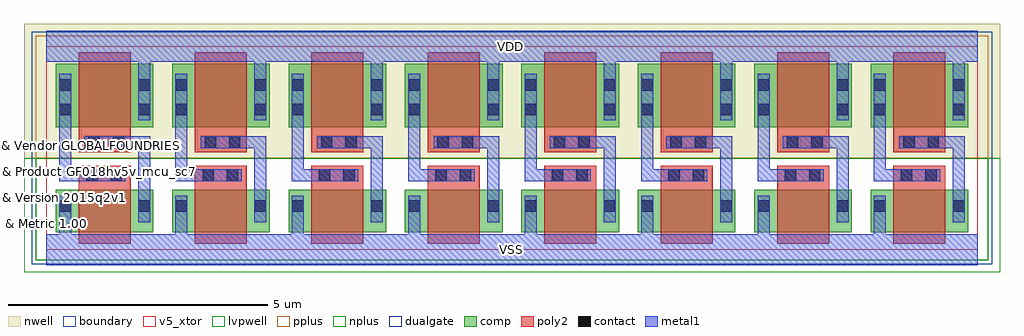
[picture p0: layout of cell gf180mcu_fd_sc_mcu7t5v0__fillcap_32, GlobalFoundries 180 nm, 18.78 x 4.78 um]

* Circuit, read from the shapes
.subckt gf180mcu_fd_sc_mcu7t5v0__fillcap_32 VDD VSS
XM1 n1 n2 VSS VSUBS nfet_05v0 w=0.82u l=1u
XM2 n3 n4 VSS VSUBS nfet_05v0 w=0.82u l=1u
XM3 n5 n6 VSS VSUBS nfet_05v0 w=0.82u l=1u
XM4 n7 n8 VSS VSUBS nfet_05v0 w=0.82u l=1u
XM5 n9 n10 VSS VSUBS nfet_05v0 w=0.82u l=1u
XM6 n11 n12 VSS VSUBS nfet_05v0 w=0.82u l=1u
XM7 n13 n14 VSS VSUBS nfet_05v0 w=0.82u l=1u
XM8 n15 n16 VSS VSUBS nfet_05v0 w=0.82u l=1u
XM9 VDD n1 n2 n17 pfet_05v0 w=1.22u l=1u
XM10 VDD n3 n4 n17 pfet_05v0 w=1.22u l=1u
XM11 VDD n5 n6 n17 pfet_05v0 w=1.22u l=1u
XM12 VDD n7 n8 n17 pfet_05v0 w=1.22u l=1u
XM13 VDD n9 n10 n17 pfet_05v0 w=1.22u l=1u
XM14 VDD n11 n12 n17 pfet_05v0 w=1.22u l=1u
XM15 VDD n13 n14 n17 pfet_05v0 w=1.22u l=1u
XM16 VDD n15 n16 n17 pfet_05v0 w=1.22u l=1u
.ends

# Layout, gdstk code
import gdstk
lib = gdstk.Library(unit=1e-6, precision=1e-09)
def R(c, l, rs):  # rectangles x0, y0, x1, y1
    for r in rs: c.add(gdstk.rectangle(r[:2], r[2:], *l))
def A(c, l, x, y, w, h, nx, ny, dx, dy):  # array of equal rectangles
    R(c, l, [(x+i*dx, y+j*dy, x+i*dx+w, y+j*dy+h) for i in range(nx) for j in range(ny)])
def P(c, l, *ps):  # polygons
    for p in ps: c.add(gdstk.Polygon(p, *l))
boundary = (0, 0)
nwell = (21, 0)
comp = (22, 0)
poly2 = (30, 0)
pplus = (31, 0)
nplus = (32, 0)
contact = (33, 0)
metal1 = (34, 0)
dualgate = (55, 0)
v5_xtor = (112, 1)
lvpwell = (204, 0)

gf180mcu_fd_sc_mcu7t5v0_ = lib.new_cell('gf180mcu_fd_sc_mcu7t5v0__fillcap_32')
R(gf180mcu_fd_sc_mcu7t5v0_, boundary, [(0,0,17.92,3.92)])
R(gf180mcu_fd_sc_mcu7t5v0_, nwell, [(-0.43,1.76,18.35,4.35)])
A(gf180mcu_fd_sc_mcu7t5v0_, comp, 0.18, 0.34, 1.88, 0.82, 8, 1, 2.24, 0)
A(gf180mcu_fd_sc_mcu7t5v0_, comp, 0.18, 2.36, 1.88, 1.22, 8, 1, 2.24, 0)
A(gf180mcu_fd_sc_mcu7t5v0_, poly2, 0.62, 0.12, 1, 1.5, 8, 1, 2.24, 0)
A(gf180mcu_fd_sc_mcu7t5v0_, poly2, 0.62, 1.875, 1, 1.925, 8, 1, 2.24, 0)
R(gf180mcu_fd_sc_mcu7t5v0_, pplus, [(-0.2,1.76,18.12,4.12)])
R(gf180mcu_fd_sc_mcu7t5v0_, nplus, [(-0.2,-0.2,18.12,1.76)])
R(gf180mcu_fd_sc_mcu7t5v0_, contact, [(0.25,0.735,0.47,0.955), (1.77,0.735,1.99,0.955), (2.49,0.735,2.71,0.955), (4.01,0.735,4.23,0.955), (4.73,0.735,4.95,0.955), (6.25,0.735,6.47,0.955), (6.97,0.735,7.19,0.955), (8.49,0.735,8.71,0.955), (9.21,0.735,9.43,0.955), (10.73,0.735,10.95,0.955), (11.45,0.735,11.67,0.955), (12.97,0.735,13.19,0.955), (13.69,0.735,13.91,0.955), (15.21,0.735,15.43,0.955), (15.93,0.735,16.15,0.955), (17.45,0.735,17.67,0.955), (0.765,1.33,0.985,1.55), (1.235,1.33,1.455,1.55), (3.005,1.33,3.225,1.55), (3.475,1.33,3.695,1.55), (5.245,1.33,5.465,1.55), (5.715,1.33,5.935,1.55), (7.485,1.33,7.705,1.55), (7.955,1.33,8.175,1.55), (9.725,1.33,9.945,1.55), (10.195,1.33,10.415,1.55), (11.965,1.33,12.185,1.55), (12.435,1.33,12.655,1.55), (14.205,1.33,14.425,1.55), (14.675,1.33,14.895,1.55), (16.445,1.33,16.665,1.55), (16.915,1.33,17.135,1.55), (0.805,1.965,1.025,2.185), (1.275,1.965,1.495,2.185), (3.045,1.965,3.265,2.185), (3.515,1.965,3.735,2.185), (5.285,1.965,5.505,2.185), (5.755,1.965,5.975,2.185), (7.525,1.965,7.745,2.185), (7.995,1.965,8.215,2.185), (9.765,1.965,9.985,2.185), (10.235,1.965,10.455,2.185), (12.005,1.965,12.225,2.185), (12.475,1.965,12.695,2.185), (14.245,1.965,14.465,2.185), (14.715,1.965,14.935,2.185), (16.485,1.965,16.705,2.185), (16.955,1.965,17.175,2.185), (0.25,2.59,0.47,2.81), (1.77,2.59,1.99,2.81), (2.49,2.59,2.71,2.81), (4.01,2.59,4.23,2.81), (4.73,2.59,4.95,2.81), (6.25,2.59,6.47,2.81), (6.97,2.59,7.19,2.81), (8.49,2.59,8.71,2.81), (9.21,2.59,9.43,2.81), (10.73,2.59,10.95,2.81), (11.45,2.59,11.67,2.81), (12.97,2.59,13.19,2.81), (13.69,2.59,13.91,2.81), (15.21,2.59,15.43,2.81), (15.93,2.59,16.15,2.81), (17.45,2.59,17.67,2.81), (0.25,3.06,0.47,3.28), (1.77,3.06,1.99,3.28), (2.49,3.06,2.71,3.28), (4.01,3.06,4.23,3.28), (4.73,3.06,4.95,3.28), (6.25,3.06,6.47,3.28), (6.97,3.06,7.19,3.28), (8.49,3.06,8.71,3.28), (9.21,3.06,9.43,3.28), (10.73,3.06,10.95,3.28), (11.45,3.06,11.67,3.28), (12.97,3.06,13.19,3.28), (13.69,3.06,13.91,3.28), (15.21,3.06,15.43,3.28), (15.93,3.06,16.15,3.28), (17.45,3.06,17.67,3.28)])
P(gf180mcu_fd_sc_mcu7t5v0_, metal1, [(0.245,1.325),(0.245,3.39),(0.475,3.39),(0.475,1.555),(1.52,1.555),(1.52,1.325)],
  [(1.765,0.53),(1.765,1.96),(0.73,1.96),(0.73,2.19),(1.995,2.19),(1.995,0.53)],
  [(2.485,1.325),(2.485,3.39),(2.715,3.39),(2.715,1.555),(3.76,1.555),(3.76,1.325)],
  [(4.005,0.53),(4.005,1.96),(2.97,1.96),(2.97,2.19),(4.235,2.19),(4.235,0.53)],
  [(4.725,1.325),(4.725,3.39),(4.955,3.39),(4.955,1.555),(6,1.555),(6,1.325)],
  [(6.245,0.53),(6.245,1.96),(5.21,1.96),(5.21,2.19),(6.475,2.19),(6.475,0.53)],
  [(6.965,1.325),(6.965,3.39),(7.195,3.39),(7.195,1.555),(8.24,1.555),(8.24,1.325)],
  [(8.485,0.53),(8.485,1.96),(7.45,1.96),(7.45,2.19),(8.715,2.19),(8.715,0.53)],
  [(9.205,1.325),(9.205,3.39),(9.435,3.39),(9.435,1.555),(10.48,1.555),(10.48,1.325)],
  [(10.725,0.53),(10.725,1.96),(9.69,1.96),(9.69,2.19),(10.955,2.19),(10.955,0.53)],
  [(11.445,1.325),(11.445,3.39),(11.675,3.39),(11.675,1.555),(12.72,1.555),(12.72,1.325)],
  [(12.965,0.53),(12.965,1.96),(11.93,1.96),(11.93,2.19),(13.195,2.19),(13.195,0.53)],
  [(13.685,1.325),(13.685,3.39),(13.915,3.39),(13.915,1.555),(14.96,1.555),(14.96,1.325)],
  [(15.205,0.53),(15.205,1.96),(14.17,1.96),(14.17,2.19),(15.435,2.19),(15.435,0.53)],
  [(15.925,1.325),(15.925,3.39),(16.155,3.39),(16.155,1.555),(17.2,1.555),(17.2,1.325)],
  [(17.445,0.53),(17.445,1.96),(16.41,1.96),(16.41,2.19),(17.675,2.19),(17.675,0.53)],
  [(0,-0.3),(0,0.3),(0.245,0.3),(0.245,1.045),(0.475,1.045),(0.475,0.3),(2.485,0.3),(2.485,1.045),(2.715,1.045),(2.715,0.3),(4.725,0.3),(4.725,1.045),(4.955,1.045),(4.955,0.3),(6.965,0.3),(6.965,1.045),(7.195,1.045),(7.195,0.3),(9.205,0.3),(9.205,1.045),(9.435,1.045),(9.435,0.3),(11.445,0.3),(11.445,1.045),(11.675,1.045),(11.675,0.3),(13.685,0.3),(13.685,1.045),(13.915,1.045),(13.915,0.3),(15.925,0.3),(15.925,1.045),(16.155,1.045),(16.155,0.3),(17.92,0.3),(17.92,-0.3)],
  [(1.765,2.49),(1.765,3.62),(0,3.62),(0,4.22),(17.92,4.22),(17.92,3.62),(17.675,3.62),(17.675,2.49),(17.445,2.49),(17.445,3.62),(15.435,3.62),(15.435,2.49),(15.205,2.49),(15.205,3.62),(13.195,3.62),(13.195,2.49),(12.965,2.49),(12.965,3.62),(10.955,3.62),(10.955,2.49),(10.725,2.49),(10.725,3.62),(8.715,3.62),(8.715,2.49),(8.485,2.49),(8.485,3.62),(6.475,3.62),(6.475,2.49),(6.245,2.49),(6.245,3.62),(4.235,3.62),(4.235,2.49),(4.005,2.49),(4.005,3.62),(1.995,3.62),(1.995,2.49)])
R(gf180mcu_fd_sc_mcu7t5v0_, dualgate, [(-0.28,-0.28,18.2,4.2)])
R(gf180mcu_fd_sc_mcu7t5v0_, v5_xtor, [(0,0,17.92,3.92)])
R(gf180mcu_fd_sc_mcu7t5v0_, lvpwell, [(-0.43,-0.43,18.35,1.76)])
gf180mcu_fd_sc_mcu7t5v0_.add(gdstk.Label('VDD', (8.925,3.905), layer=34, texttype=10))
gf180mcu_fd_sc_mcu7t5v0_.add(gdstk.Label('VSS', (8.955,0.005), layer=34, texttype=10))
gf180mcu_fd_sc_mcu7t5v0_.add(gdstk.Label('& Vendor GLOBALFOUNDRIES', (0,2), layer=63, texttype=63))
gf180mcu_fd_sc_mcu7t5v0_.add(gdstk.Label('& Product GF018hv5v_mcu_sc7', (0,1.5), layer=63, texttype=63))
gf180mcu_fd_sc_mcu7t5v0_.add(gdstk.Label('& Version 2015q2v1', (0,1), layer=63, texttype=63))
gf180mcu_fd_sc_mcu7t5v0_.add(gdstk.Label('& Metric 1.00', (0,0.5), layer=63, texttype=63))

lib.write_gds('gf180mcu_fd_sc_mcu7t5v0__fillcap_32.gds')
